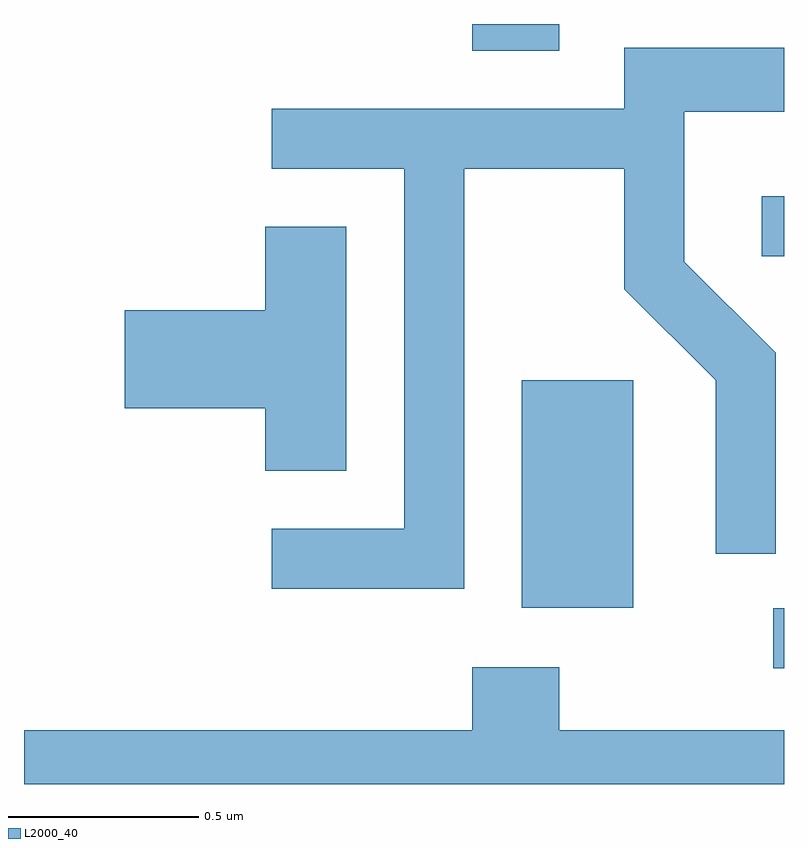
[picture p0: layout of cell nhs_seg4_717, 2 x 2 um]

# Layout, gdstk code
import gdstk
lib = gdstk.Library(unit=1e-6, precision=1e-09)
def R(c, l, rs):  # rectangles x0, y0, x1, y1
    for r in rs: c.add(gdstk.rectangle(r[:2], r[2:], *l))
def P(c, l, *ps):  # polygons
    for p in ps: c.add(gdstk.Polygon(p, *l))
L2000_40 = (2000, 40)

nhs_seg4_717 = lib.new_cell('nhs_seg4_717')
R(nhs_seg4_717, L2000_40, [(192.583,1286.286,192.611,1286.444), (191.921,1286.446,192.214,1287.044), (192.553,1287.371,192.611,1287.529), (191.791,1287.911,192.019,1287.982)])
P(nhs_seg4_717, L2000_40, [(191.769,1287.601),(192.191,1287.601),(192.191,1287.284),(192.431,1287.044),(192.431,1286.588),(192.589,1286.588),(192.589,1287.117),(192.349,1287.357),(192.349,1287.751),(192.611,1287.751),(192.611,1287.919),(192.191,1287.919),(192.191,1287.759),(191.263,1287.759),(191.263,1287.601),(191.611,1287.601),(191.611,1286.654),(191.263,1286.654),(191.263,1286.496),(191.769,1286.496)],
  [(191.459,1287.449),(191.246,1287.449),(191.246,1287.229),(190.876,1287.229),(190.876,1286.971),(191.246,1286.971),(191.246,1286.806),(191.459,1286.806)],
  [(192.611,1286.124),(192.019,1286.124),(192.019,1286.289),(191.791,1286.289),(191.791,1286.124),(190.611,1286.124),(190.611,1285.982),(192.611,1285.982)])

lib.write_gds('nhs_seg4_717.gds')
